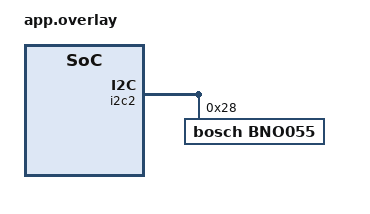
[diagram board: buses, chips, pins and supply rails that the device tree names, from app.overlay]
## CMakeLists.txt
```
# Versão mínima do CMake
cmake_minimum_required(VERSION 3.20.0)

# Procura o pacote do Zephyr
find_package(Zephyr REQUIRED HINTS $ENV{ZEPHYR_BASE})

# Cria o projeto
project(bno055_test)

# Adiciona o código fonte (o seu main.c de teste)
target_sources(app PRIVATE src/main.c)
```

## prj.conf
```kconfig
CONFIG_STDOUT_CONSOLE=y
CONFIG_I2C=y
CONFIG_SENSOR=y
CONFIG_BNO055=y
```

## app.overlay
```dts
&i2c2 {
    status = "okay";
    bno055@28 {
        compatible = "bosch,bno055";
        reg = <0x28>;
        label = "BNO055";
    };
};
```

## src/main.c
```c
/* app/src/main.c */
#include <zephyr/kernel.h>
#include <zephyr/device.h>
#include <zephyr/drivers/sensor.h>
#include <stdio.h>

int main(void)
{
    printf("Iniciando aplicacao de teste do BNO055...\n");

    /* * 1. OBTER O DISPOSITIVO
     * O Zephyr busca a struct device associada ao nó do Devicetree.
     * 'DT_NODELABEL(bno055)' refere-se ao rótulo que criamos no app.overlay
     */
    const struct device *dev = DEVICE_DT_GET(DT_ANY_INST(bosch_bno055));

    /* * 2. VERIFICAR SE O DRIVER ESTÁ PRONTO
     * Isso verifica se a função de inicialização (bno055_init) rodou sem erros.
     */
    if (!device_is_ready(dev)) {
        printf("ERRO: Dispositivo BNO055 nao esta pronto ou nao foi encontrado.\n");
        return 0;
    }

    printf("Dispositivo BNO055 encontrado! Lendo dados...\n");

    while (1) {
        struct sensor_value val_x, val_y, val_z;

        /* * 3. BUSCAR DADOS (FETCH)
         * Isso chama a função 'sample_fetch' que você implementou no driver.
         * Ela vai lá no I2C, lê os registradores e guarda na memória interna do driver.
         */
        if (sensor_sample_fetch(dev) < 0) {
            printf("Falha na leitura (sample_fetch)\n");
            k_msleep(1000);
            continue;
        }

        /* * 4. OBTER CANAIS (GET)
         * Isso chama a função 'channel_get' do driver para converter os dados
         * brutos para o formato padrão do Zephyr (sensor_value).
         * Estamos pedindo Aceleração ou Orientação (depende do que você implementou).
         * Vamos assumir que você implementou SENSOR_CHAN_ROTATION ou ACCEL.
         */
        
        // Exemplo: Lendo Orientação (Euler Angles) se seu driver suportar SENSOR_CHAN_ROTATION
        // Caso contrário, tente SENSOR_CHAN_ACCEL_XYZ
        sensor_channel_get(dev, SENSOR_CHAN_ROTATION, &val_x); // Roll (ou X)
        
        /*
         * O Zephyr usa uma struct com parte inteira e decimal para não depender de float.
         * sensor_value_to_double converte isso para facilitar o print.
         */
        printf("Leitura: %f\n", sensor_value_to_double(&val_x));

        k_msleep(500); // Aguarda 500ms
    }
    return 0;
}
```
